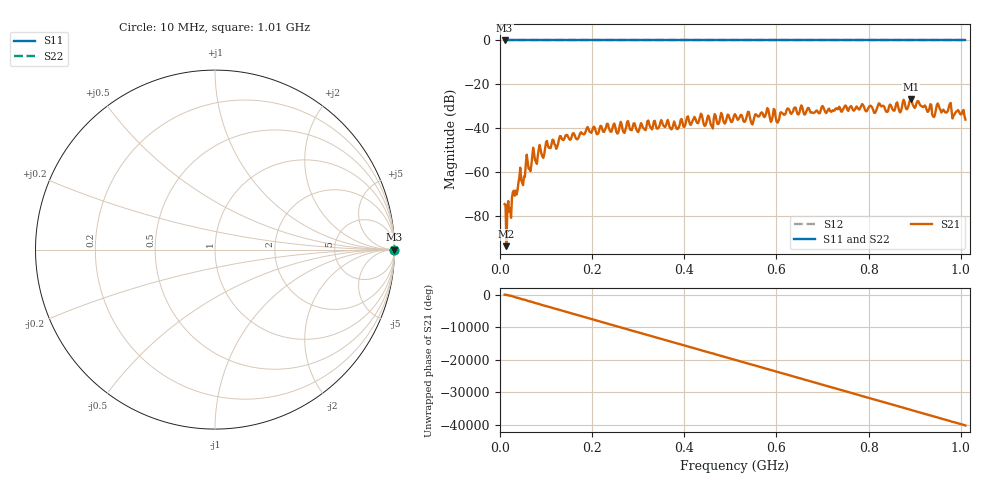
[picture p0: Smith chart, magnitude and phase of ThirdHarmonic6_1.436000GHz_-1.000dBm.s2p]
! 8/16/2025 4:35:12 PM
! C:\ANRITSUVNA\TEMP\TEMP.S2P
! CHANNEL.1
! TR.MEASUREMENT
! RAW.DATA
! RF.CORRECTION.OFF
! AVERAGING.OFF
! IF.BANDWIDTH: 5KHZ
! SWEEPTYPE:  FREQ.SWEEP(Linear)
! Reference Plane Port Info
! PORT:  PORT1  PORT2
! DISTANCE:  0  m  0  m
! TIME:  0  s  0  s
! PHASE.OFFSET:  0  deg.  0  deg.
! LOSS:  0  dB  0  dB
! REF.LOSS:  0  dB  0  dB
! REF.FREQ:  0  Hz  0  Hz
! Power Info
! POWER:  -20  dBm  -20  dBm
! EFF.POWER:  -20  dBm  -20  dBm
! SOURCE.ATTEN:  0  dB  0  dB
! TEST.ATTEN:  0  dB  0  dB
# GHZ S RI R 50.0
! FREQ.GHZ  S11RE  S11IM  S21RE  S21IM  S12RE  S12IM  S22RE  S22IM
!; PortSelection: Port_12
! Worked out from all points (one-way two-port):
!   501 points, 10 MHz to 1.01 GHz, reference 50 ohm
!   highest |S21| = -26.59 dB at 892 MHz (marker M1); lowest = -93.5 dB at 14 MHz (marker M2)
!   lowest |S11| = 0.0 dB at 10 MHz (marker M3)
!   |S11| at or under -10 dB: nowhere
!   |S22| runs from 0.0 to 0.0 dB; largest |S21 - S12| = 1
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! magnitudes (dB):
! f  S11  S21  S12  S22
! 10 MHz  0.0  -74.4  0.0  0.0
! 14 MHz  0.0  -93.5  0.0  0.0
! 20 MHz  0.0  -77.9  0.0  0.0
! 42 MHz  0.0  -62.2  0.0  0.0
! 50 MHz  0.0  -65.8  0.0  0.0
! 56 MHz  0.0  -56.3  0.0  0.0
! 66 MHz  0.0  -59.5  0.0  0.0
! 72 MHz  0.0  -48.8  0.0  0.0
! 178 MHz  0.0  -42.4  0.0  0.0
! 344 MHz  0.0  -39.7  0.0  0.0
! 510 MHz  0.0  -33.5  0.0  0.0
! 548 MHz  0.0  -38.2  0.0  0.0
! 580 MHz  0.0  -30.7  0.0  0.0
! 602 MHz  0.0  -37.4  0.0  0.0
! 624 MHz  0.0  -30.9  0.0  0.0
! 678 MHz  0.0  -32.8  0.0  0.0
! 844 MHz  0.0  -30.3  0.0  0.0
! 892 MHz  0.0  -26.6  0.0  0.0
! 942 MHz  0.0  -34.8  0.0  0.0
! 950 MHz  0.0  -28.6  0.0  0.0
! 976 MHz  0.0  -28.9  0.0  0.0
! 1.01 GHz  0.0  -36.0  0.0  0.0
